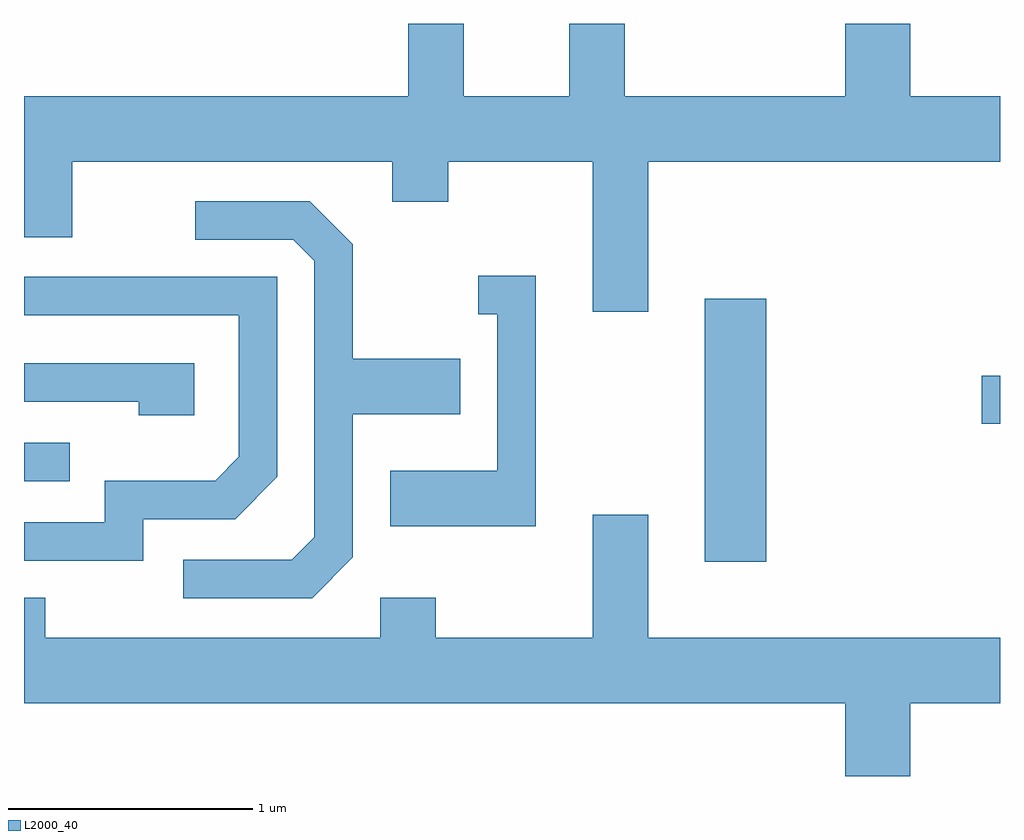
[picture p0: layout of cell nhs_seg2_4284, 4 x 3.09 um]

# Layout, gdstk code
import gdstk
lib = gdstk.Library(unit=1e-6, precision=1e-09)
def R(c, l, rs):  # rectangles x0, y0, x1, y1
    for r in rs: c.add(gdstk.rectangle(r[:2], r[2:], *l))
def P(c, l, *ps):  # polygons
    for p in ps: c.add(gdstk.Polygon(p, *l))
L2000_40 = (2000, 40)

nhs_seg2_4284 = lib.new_cell('nhs_seg2_4284')
R(nhs_seg2_4284, L2000_40, [(314.401,1015.596,314.654,1016.674), (311.611,1015.926,311.798,1016.084), (315.536,1016.161,315.611,1016.359)])
P(nhs_seg2_4284, L2000_40, [(314.169,1017.236),(315.611,1017.236),(315.611,1017.504),(315.244,1017.504),(315.244,1017.802),(314.976,1017.802),(314.976,1017.504),(314.074,1017.504),(314.074,1017.802),(313.846,1017.802),(313.846,1017.504),(313.414,1017.504),(313.414,1017.802),(313.186,1017.802),(313.186,1017.504),(311.611,1017.504),(311.611,1016.926),(311.809,1016.926),(311.809,1017.236),(313.121,1017.236),(313.121,1017.071),(313.349,1017.071),(313.349,1017.236),(313.941,1017.236),(313.941,1016.621),(314.169,1016.621)],
  [(312.959,1015.614),(312.959,1016.201),(313.399,1016.201),(313.399,1016.429),(312.959,1016.429),(312.959,1016.897),(312.782,1017.074),(312.313,1017.074),(312.313,1016.916),(312.714,1016.916),(312.801,1016.829),(312.801,1015.697),(312.709,1015.604),(312.263,1015.604),(312.263,1015.446),(312.792,1015.446)],
  [(313.709,1016.769),(313.473,1016.769),(313.473,1016.611),(313.551,1016.611),(313.551,1015.969),(313.111,1015.969),(313.111,1015.741),(313.709,1015.741)],
  [(312.099,1015.771),(312.477,1015.771),(312.649,1015.944),(312.649,1016.764),(311.611,1016.764),(311.611,1016.606),(312.491,1016.606),(312.491,1016.027),(312.394,1015.929),(311.941,1015.929),(311.941,1015.759),(311.611,1015.759),(311.611,1015.601),(312.099,1015.601)],
  [(312.309,1016.409),(311.611,1016.409),(311.611,1016.251),(312.081,1016.251),(312.081,1016.196),(312.309,1016.196)],
  [(315.244,1015.016),(315.611,1015.016),(315.611,1015.284),(314.169,1015.284),(314.169,1015.789),(313.941,1015.789),(313.941,1015.284),(313.299,1015.284),(313.299,1015.449),(313.071,1015.449),(313.071,1015.284),(311.699,1015.284),(311.699,1015.449),(311.611,1015.449),(311.611,1015.016),(314.976,1015.016),(314.976,1014.716),(315.244,1014.716)])

lib.write_gds('nhs_seg2_4284.gds')
